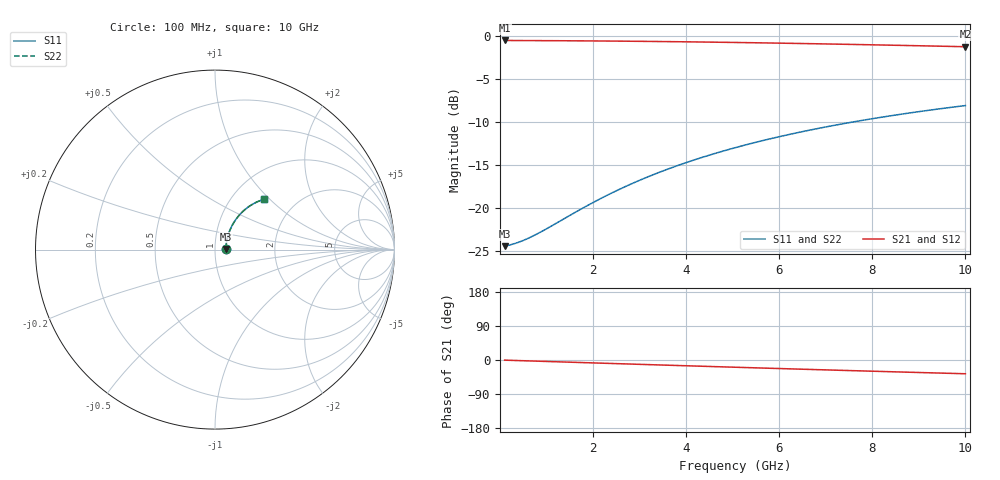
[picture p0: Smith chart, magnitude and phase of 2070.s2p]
# Hz S RI R 50.00
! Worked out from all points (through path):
!   100 points, 100 MHz to 10 GHz, reference 50 ohm
!   highest |S21| = -0.54 dB at 100 MHz (marker M1); lowest = -1.3 dB at 10 GHz (marker M2)
!   group delay of S21, straight-line fit = 10.1 ps
!   lowest |S11| = -24.5 dB at 100 MHz (marker M3), VSWR 1.13, Z = 56.4 + j0.455 ohm
!   |S11| at or under -10 dB: start of sweep to 7.597 GHz
!   |S22| runs from -24.5 to -8.1 dB; largest |S21 - S12| = 0
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1e8  0.0598 0.00402  0.9402 -0.00631  0.9402 -0.00631  0.0598 0.00402
3e8  0.0606 0.012  0.9393 -0.0189  0.9393 -0.0189  0.0606 0.012
4e8  0.061 0.0161  0.9389 -0.0252  0.9389 -0.0252  0.061 0.0161
5e8  0.0615 0.02  0.9385 -0.0315  0.9385 -0.0315  0.0615 0.02
7e8  0.0624 0.028  0.9374 -0.044  0.9374 -0.044  0.0624 0.028
1e9  0.0642 0.0399  0.9356 -0.0628  0.9356 -0.0628  0.0642 0.0399
1.8e9  0.0708 0.0711  0.9282 -0.1123  0.9282 -0.1123  0.0708 0.0711
2.2e9  0.0753 0.0863  0.9233 -0.1367  0.9233 -0.1367  0.0753 0.0863
2.6e9  0.0806 0.1013  0.9175 -0.1608  0.9175 -0.1608  0.0806 0.1013
3e9  0.0866 0.1158  0.9109 -0.1845  0.9109 -0.1845  0.0866 0.1158
3.4e9  0.0933 0.13  0.9035 -0.2079  0.9035 -0.2079  0.0933 0.13
3.8e9  0.1007 0.1437  0.8953 -0.2308  0.8953 -0.2308  0.1007 0.1437
4.2e9  0.1088 0.157  0.8864 -0.2532  0.8864 -0.2532  0.1088 0.157
4.6e9  0.1175 0.1697  0.8767 -0.2751  0.8767 -0.2751  0.1175 0.1697
5.1e9  0.1292 0.1849  0.8637 -0.3018  0.8637 -0.3018  0.1292 0.1849
5.5e9  0.1392 0.1963  0.8525 -0.3225  0.8525 -0.3225  0.1392 0.1963
5.9e9  0.1496 0.2072  0.8408 -0.3426  0.8408 -0.3426  0.1496 0.2072
6.7e9  0.1718 0.227  0.8158 -0.3809  0.8158 -0.3809  0.1718 0.227
7.5e9  0.1955 0.2443  0.789 -0.4167  0.789 -0.4167  0.1955 0.2443
8.4e9  0.2235 0.2604  0.757 -0.4538  0.757 -0.4538  0.2235 0.2604
9.2e9  0.2492 0.272  0.7273 -0.4841  0.7273 -0.4841  0.2492 0.272
1e10  0.2753 0.2808  0.6968 -0.5117  0.6968 -0.5117  0.2753 0.2808
